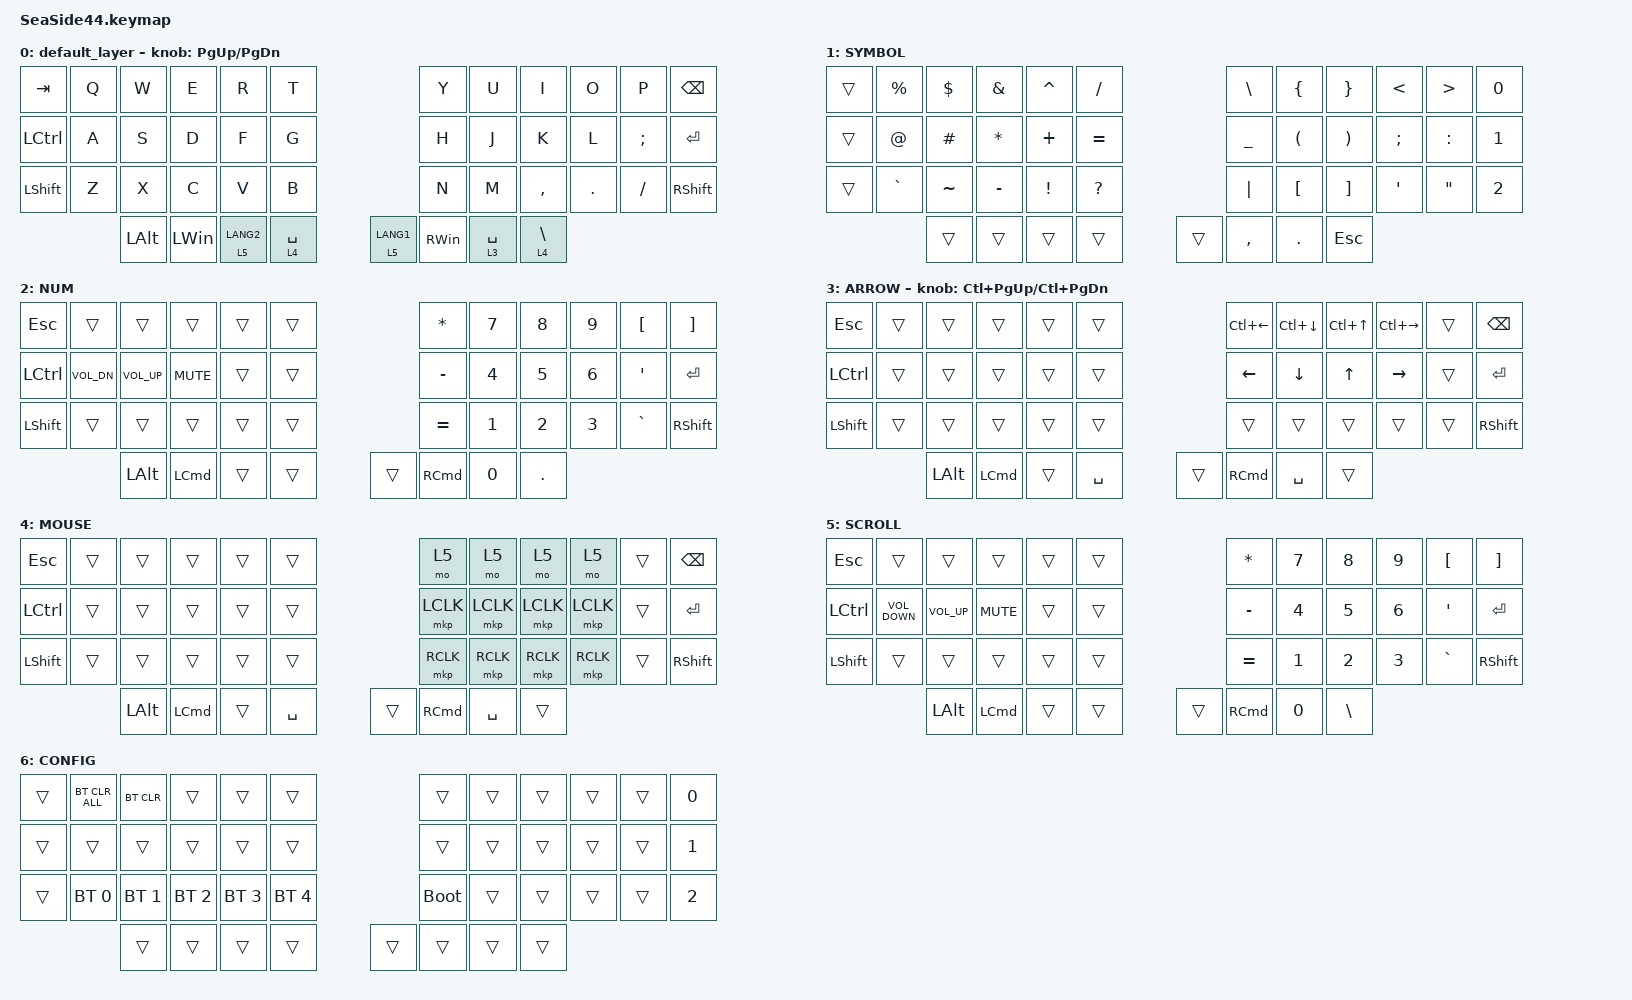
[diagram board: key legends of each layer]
#include <behaviors.dtsi>
#include <dt-bindings/zmk/bt.h>
#include <dt-bindings/zmk/keys.h>
#include <dt-bindings/zmk/pointing.h>

#define ZMK_POINTING_DEFAULT_SCRL_VAL 5  //default: 10
#define MOUSE 4
#define SCROLL 5
#define NUM 6

&mt {
    flavor = "balanced";
    quick-tap-ms = <300>;
};

&lt {
    flavor = "balanced";
    quick-tap-ms = <300>;
};

/ {
    combos { compatible = "zmk,combos"; };

    macros {
        to_layer_0: to_layer_0 {
            compatible = "zmk,behavior-macro-one-param";
            #binding-cells = <1>;
            bindings = <&to 0 &macro_param_1to1 &kp MACRO_PLACEHOLDER>;
            label = "TO_LAYER_0";
        };
    };

    behaviors {
        lt_to_layer_0: lt_to_layer_0 {
            compatible = "zmk,behavior-hold-tap";
            label = "LAYER_TAP_TO_0";
            bindings = <&mo>, <&to_layer_0>;

            #binding-cells = <2>;
            tapping-term-ms = <200>;
        };
    };

    keymap {
        compatible = "zmk,keymap";

        default_layer {
            bindings = <
&kp TAB         &kp Q  &kp W         &kp E         &kp R        &kp T                                      &kp Y        &kp U  &kp I            &kp O       &kp P          &kp BACKSPACE
&kp LCTRL       &kp A  &kp S         &kp D         &kp F        &kp G                                      &kp H        &kp J  &kp K            &kp L       &kp SEMICOLON  &kp ENTER
&kp LEFT_SHIFT  &kp Z  &kp X         &kp C         &kp V        &kp B                                      &kp N        &kp M  &kp COMMA        &kp PERIOD  &kp SLASH      &kp RIGHT_SHIFT
                       &kp LEFT_ALT  &kp LEFT_WIN  &lt 5 LANG2  &lt 4 SPACE  &lt 5 LANG1    &kp RIGHT_WIN  &lt 3 SPACE         &lt 4 BACKSLASH
            >;

            sensor-bindings = <&inc_dec_kp PG_UP PAGE_DOWN>;
        };

        SYMBOL {
            bindings = <
&trans  &kp PRCNT  &kp DOLLAR  &kp AMPERSAND  &kp CARET        &kp FSLH                           &kp BSLH        &kp LEFT_BRACE        &kp RIGHT_BRACE        &kp LESS_THAN  &kp GREATER_THAN   &kp N0
&trans  &kp AT     &kp HASH    &kp ASTERISK   &kp PLUS         &kp EQUAL                          &kp UNDERSCORE  &kp LEFT_PARENTHESIS  &kp RIGHT_PARENTHESIS  &kp SEMI       &kp COLON          &kp N1
&trans  &kp GRAVE  &kp TILDE   &kp MINUS      &kp EXCLAMATION  &kp QUESTION                       &kp PIPE        &kp LBKT              &kp RBKT               &kp SQT        &kp DOUBLE_QUOTES  &kp N2
                   &trans      &trans         &trans           &trans        &trans    &kp COMMA  &kp PERIOD                            &kp ESC
            >;
        };

        NUM {
            bindings = <
&kp ESCAPE      &trans        &trans        &trans            &trans  &trans                               &kp ASTERISK  &kp NUMBER_7  &kp NUMBER_8  &kp NUMBER_9  &kp LEFT_BRACKET  &kp RIGHT_BRACKET
&kp LCTRL       &kp C_VOL_DN  &kp C_VOL_UP  &kp K_MUTE        &trans  &trans                               &kp MINUS     &kp NUMBER_4  &kp NUMBER_5  &kp NUMBER_6  &kp SINGLE_QUOTE  &kp ENTER
&kp LEFT_SHIFT  &trans        &trans        &trans            &trans  &trans                               &kp EQUAL     &kp NUMBER_1  &kp NUMBER_2  &kp NUMBER_3  &kp GRAVE         &kp RIGHT_SHIFT
                              &kp LEFT_ALT  &kp LEFT_COMMAND  &trans  &trans  &trans    &kp RIGHT_COMMAND  &kp NUMBER_0                &kp PERIOD
            >;
        };

        ARROW {
            bindings = <
&kp ESCAPE        &trans  &trans        &trans            &trans  &trans                                  &kp LC(LEFT_ARROW)  &kp LC(DOWN_ARROW)  &kp LC(UP_ARROW)  &kp LC(RIGHT_ARROW)  &trans  &kp BACKSPACE
&kp LEFT_CONTROL  &trans  &trans        &trans            &trans  &trans                                  &kp LEFT_ARROW      &kp DOWN_ARROW      &kp UP_ARROW      &kp RIGHT_ARROW      &trans  &kp ENTER
&kp LEFT_SHIFT    &trans  &trans        &trans            &trans  &trans                                  &trans              &trans              &trans            &trans               &trans  &kp RIGHT_SHIFT
                          &kp LEFT_ALT  &kp LEFT_COMMAND  &trans  &kp SPACE  &trans    &kp RIGHT_COMMAND  &kp SPACE                               &trans
            >;

            sensor-bindings = <&inc_dec_kp LC(PAGE_UP) LC(PAGE_DOWN)>;
        };

        MOUSE {
            bindings = <
&kp ESCAPE        &trans  &trans        &trans            &trans  &trans                                  &mo 5      &mo 5      &mo 5      &mo 5      &trans  &kp BACKSPACE
&kp LEFT_CONTROL  &trans  &trans        &trans            &trans  &trans                                  &mkp LCLK  &mkp LCLK  &mkp LCLK  &mkp LCLK  &trans  &kp ENTER
&kp LEFT_SHIFT    &trans  &trans        &trans            &trans  &trans                                  &mkp RCLK  &mkp RCLK  &mkp RCLK  &mkp RCLK  &trans  &kp RIGHT_SHIFT
                          &kp LEFT_ALT  &kp LEFT_COMMAND  &trans  &kp SPACE  &trans    &kp RIGHT_COMMAND  &kp SPACE             &trans
            >;
        };

        SCROLL {
            bindings = <
&kp ESCAPE        &trans             &trans           &trans            &trans  &trans                               &kp ASTERISK  &kp NUMBER_7  &kp NUMBER_8   &kp NUMBER_9  &kp LEFT_BRACKET  &kp RIGHT_BRACKET
&kp LEFT_CONTROL  &kp C_VOLUME_DOWN  &kp C_VOLUME_UP  &kp K_MUTE        &trans  &trans                               &kp MINUS     &kp NUMBER_4  &kp NUMBER_5   &kp NUMBER_6  &kp SINGLE_QUOTE  &kp ENTER
&kp LEFT_SHIFT    &trans             &trans           &trans            &trans  &trans                               &kp EQUAL     &kp NUMBER_1  &kp NUMBER_2   &kp NUMBER_3  &kp GRAVE         &kp RIGHT_SHIFT
                                     &kp LEFT_ALT     &kp LEFT_COMMAND  &trans  &trans  &trans    &kp RIGHT_COMMAND  &kp N0                      &kp BACKSLASH
            >;
        };

        CONFIG {
            bindings = <
&trans  &bt BT_CLR_ALL  &bt BT_CLR    &trans        &trans        &trans                          &trans       &trans  &trans  &trans  &trans  &kp N0
&trans  &trans          &trans        &trans        &trans        &trans                          &trans       &trans  &trans  &trans  &trans  &kp N1
&trans  &bt BT_SEL 0    &bt BT_SEL 1  &bt BT_SEL 2  &bt BT_SEL 3  &bt BT_SEL 4                    &bootloader  &trans  &trans  &trans  &trans  &kp N2
                        &trans        &trans        &trans        &trans        &trans    &trans  &trans               &trans
            >;
        };
    };
};
